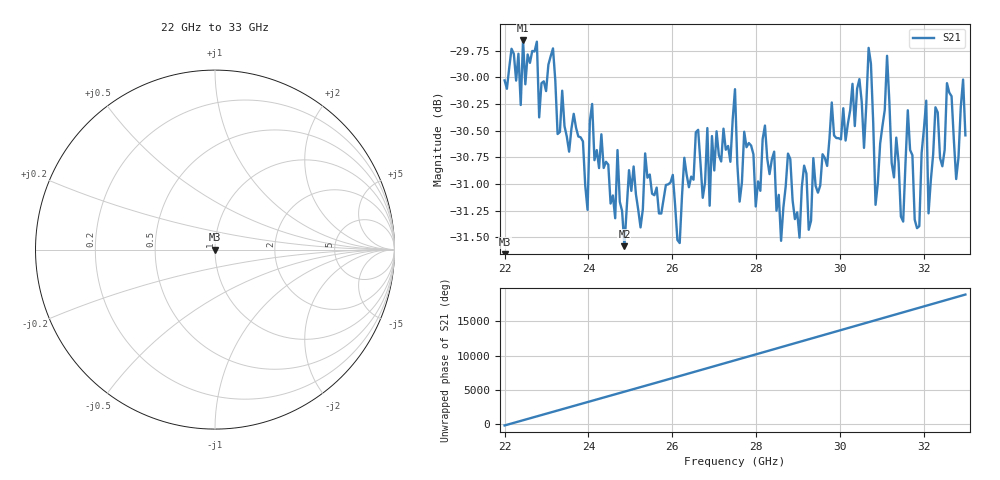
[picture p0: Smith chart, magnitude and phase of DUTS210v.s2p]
!Keysight Technologies,N5224B,MY57181201,A.12.70.07
!Date: Thursday, July 14, 2022 13:03:35
!Correction: S11(Off)
!S21(Off)
!S12(Off)
!S22(Off)
!S2P File: Measurements: S11, S21, S12, S22:
# Hz S  dB  R 50
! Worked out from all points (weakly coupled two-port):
!   201 points, 22 GHz to 33 GHz, reference 50 ohm
!   highest |S21| = -29.66 dB at 22.44 GHz (marker M1); lowest = -31.6 dB at 24.86 GHz (marker M2)
!   lowest |S11| = - dB at 22 GHz (marker M3), VSWR 1.00, Z = 50 + j7.07e-09 ohm
!   |S11| at or under -10 dB: start of sweep to end of sweep
!   S12 and S22 are empty: the file has one direction only
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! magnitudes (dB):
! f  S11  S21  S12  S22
! 22 GHz  -  -30.0  -  -
! 22.44 GHz  -  -29.7  -  -
! 23.87 GHz  -  -30.6  -  -
! 24.7 GHz  -  -30.7  -  -
! 24.86 GHz  -  -31.6  -  -
! 25.68 GHz  -  -31.3  -  -
! 27.5 GHz  -  -30.1  -  -
! 27.61 GHz  -  -31.2  -  -
! 28.21 GHz  -  -30.5  -  -
! 28.6 GHz  -  -31.5  -  -
! 29.37 GHz  -  -30.8  -  -
! 30.58 GHz  -  -30.7  -  -
! 30.69 GHz  -  -29.7  -  -
! 30.86 GHz  -  -31.2  -  -
! 31.18 GHz  -  -30.2  -  -
! 31.52 GHz  -  -31.4  -  -
! 31.62 GHz  -  -30.3  -  -
! 31.84 GHz  -  -31.4  -  -
! 32.06 GHz  -  -30.2  -  -
! 32.12 GHz  -  -31.3  -  -
! 32.28 GHz  -  -30.3  -  -
! 33 GHz  -  -30.5  -  -
